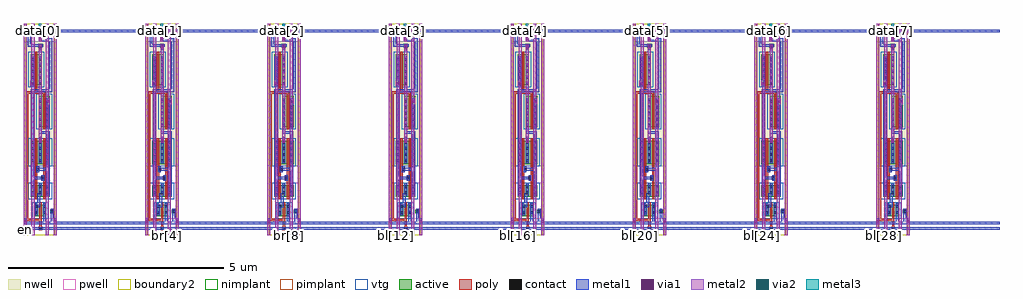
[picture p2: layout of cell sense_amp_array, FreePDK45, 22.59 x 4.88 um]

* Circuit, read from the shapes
.subckt sense_amp_array bl[0] bl[12] bl[16] bl[20] bl[24] bl[28] bl[4] bl[8] br[0] br[12] br[16] br[20] br[24] br[28] br[4] br[8] data[0] data[1] data[2] data[3] data[4] data[5] data[6] data[7] en gnd vdd
M1 n1 n2 data[0] gnd nfet w=0.27u l=0.05u
M2 gnd en n1 gnd nfet w=0.27u l=0.05u
M3 n2 data[0] n1 gnd nfet w=0.27u l=0.05u
M4 n3 n4 data[1] gnd nfet w=0.27u l=0.05u
M5 gnd en n3 gnd nfet w=0.27u l=0.05u
M6 n4 data[1] n3 gnd nfet w=0.27u l=0.05u
M7 n5 n6 data[2] gnd nfet w=0.27u l=0.05u
M8 gnd en n5 gnd nfet w=0.27u l=0.05u
M9 n6 data[2] n5 gnd nfet w=0.27u l=0.05u
M10 n7 n8 data[3] gnd nfet w=0.27u l=0.05u
M11 gnd en n7 gnd nfet w=0.27u l=0.05u
M12 n8 data[3] n7 gnd nfet w=0.27u l=0.05u
M13 n9 n10 data[4] gnd nfet w=0.27u l=0.05u
M14 gnd en n9 gnd nfet w=0.27u l=0.05u
M15 n10 data[4] n9 gnd nfet w=0.27u l=0.05u
M16 n11 n12 data[5] gnd nfet w=0.27u l=0.05u
M17 gnd en n11 gnd nfet w=0.27u l=0.05u
M18 n12 data[5] n11 gnd nfet w=0.27u l=0.05u
M19 n13 n14 data[6] gnd nfet w=0.27u l=0.05u
M20 gnd en n13 gnd nfet w=0.27u l=0.05u
M21 n14 data[6] n13 gnd nfet w=0.27u l=0.05u
M22 n15 n16 data[7] gnd nfet w=0.27u l=0.05u
M23 gnd en n15 gnd nfet w=0.27u l=0.05u
M24 n16 data[7] n15 gnd nfet w=0.27u l=0.05u
M25 vdd n2 data[0] vdd pfet w=0.54u l=0.05u
M26 data[0] en bl[0] vdd pfet w=0.72u l=0.05u
M27 n2 data[0] vdd vdd pfet w=0.54u l=0.05u
M28 br[0] en n2 vdd pfet w=0.72u l=0.05u
M29 vdd n4 data[1] vdd pfet w=0.54u l=0.05u
M30 data[1] en bl[4] vdd pfet w=0.72u l=0.05u
M31 n4 data[1] vdd vdd pfet w=0.54u l=0.05u
M32 br[4] en n4 vdd pfet w=0.72u l=0.05u
M33 vdd n6 data[2] vdd pfet w=0.54u l=0.05u
M34 data[2] en bl[8] vdd pfet w=0.72u l=0.05u
M35 n6 data[2] vdd vdd pfet w=0.54u l=0.05u
M36 br[8] en n6 vdd pfet w=0.72u l=0.05u
M37 vdd n8 data[3] vdd pfet w=0.54u l=0.05u
M38 data[3] en bl[12] vdd pfet w=0.72u l=0.05u
M39 n8 data[3] vdd vdd pfet w=0.54u l=0.05u
M40 br[12] en n8 vdd pfet w=0.72u l=0.05u
M41 vdd n10 data[4] vdd pfet w=0.54u l=0.05u
M42 data[4] en bl[16] vdd pfet w=0.72u l=0.05u
M43 n10 data[4] vdd vdd pfet w=0.54u l=0.05u
M44 br[16] en n10 vdd pfet w=0.72u l=0.05u
M45 vdd n12 data[5] vdd pfet w=0.54u l=0.05u
M46 data[5] en bl[20] vdd pfet w=0.72u l=0.05u
M47 n12 data[5] vdd vdd pfet w=0.54u l=0.05u
M48 br[20] en n12 vdd pfet w=0.72u l=0.05u
M49 vdd n14 data[6] vdd pfet w=0.54u l=0.05u
M50 data[6] en bl[24] vdd pfet w=0.72u l=0.05u
M51 n14 data[6] vdd vdd pfet w=0.54u l=0.05u
M52 br[24] en n14 vdd pfet w=0.72u l=0.05u
M53 vdd n16 data[7] vdd pfet w=0.54u l=0.05u
M54 data[7] en bl[28] vdd pfet w=0.72u l=0.05u
M55 n16 data[7] vdd vdd pfet w=0.54u l=0.05u
M56 br[28] en n16 vdd pfet w=0.72u l=0.05u
.ends

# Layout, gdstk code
import gdstk
lib = gdstk.Library(unit=1e-6, precision=5e-10)
def R(c, l, rs):  # rectangles x0, y0, x1, y1
    for r in rs: c.add(gdstk.rectangle(r[:2], r[2:], *l))
def A(c, l, x, y, w, h, nx, ny, dx, dy):  # array of equal rectangles
    R(c, l, [(x+i*dx, y+j*dy, x+i*dx+w, y+j*dy+h) for i in range(nx) for j in range(ny)])
active = (1, 0)
pwell = (2, 0)
nwell = (3, 0)
nimplant = (4, 0)
pimplant = (5, 0)
vtg = (6, 0)
poly = (9, 0)
contact = (10, 0)
metal1 = (11, 0)
via1 = (12, 0)
metal2 = (13, 0)
via2 = (14, 0)
metal3 = (15, 0)
boundary2 = (239, 0)

sense_amp = lib.new_cell('sense_amp')
R(sense_amp, active, [(0.2275,0.43,0.3025,0.7), (0.2275,0.43,0.3025,0.7), (0.2275,0.43,0.4875,0.7), (0.4125,0.43,0.4875,0.7), (0.4125,0.43,0.4875,0.7), (0.2275,0.485,0.3025,0.7), (0.4125,0.485,0.4875,0.7), (0.58,0.5,0.67,0.59), (0.1275,0.8875,0.2025,1.1575), (0.1275,0.8875,0.2025,1.1575), (0.1275,0.8875,0.3875,1.1575), (0.3125,0.8875,0.3875,1.1575), (0.3125,0.8875,0.3875,1.1575), (0.3175,0.8875,0.3925,1.1575), (0.3175,0.8875,0.3925,1.1575), (0.3175,0.8875,0.5775,1.1575), (0.5025,0.8875,0.5775,1.1575), (0.5025,0.8875,0.5775,1.1575), (0.1275,0.9425,0.2025,1.1575), (0.3125,0.9425,0.3875,1.1575), (0.3175,0.9425,0.3925,1.1575), (0.5025,0.9425,0.5775,1.1575), (0.1275,1.6425,0.2025,2.1825), (0.1275,1.6425,0.2025,2.1825), (0.1275,1.6425,0.3875,2.1825), (0.3125,1.6425,0.3875,2.1825), (0.3125,1.6425,0.3875,2.1825), (0.3175,1.6425,0.3925,2.1825), (0.3175,1.6425,0.3925,2.1825), (0.3175,1.6425,0.5775,2.1825), (0.5025,1.6425,0.5775,2.1825), (0.5025,1.6425,0.5775,2.1825), (0.1275,1.6875,0.2025,2.1825), (0.3125,1.6875,0.3875,2.1825), (0.3175,1.6875,0.3925,2.1825), (0.5025,1.6875,0.5775,2.1825), (0.3175,2.5,0.3925,3.22), (0.3175,2.5,0.3925,3.22), (0.3175,2.5,0.5775,3.22), (0.3175,2.5,0.3925,3.135), (0.5025,2.5,0.5775,3.22), (0.5025,2.5,0.5775,3.22), (0.5025,2.5,0.5775,3.135), (0.1275,3.47,0.2025,4.19), (0.1275,3.47,0.2025,4.19), (0.1275,3.47,0.3875,4.19), (0.1275,3.47,0.2025,4.105), (0.3125,3.47,0.3875,4.19), (0.3125,3.47,0.3875,4.19), (0.3125,3.47,0.3875,4.105), (0.3075,4.34,0.3975,4.43)])
R(sense_amp, pwell, [(-0.035,0.375,0.74,1.2125), (0.1725,0.375,0.5425,0.755), (0.525,0.445,0.725,0.645), (0.0725,0.8325,0.4425,1.2125), (0.2625,0.8325,0.6325,1.2125)])
R(sense_amp, nwell, [(-0.035,1.5875,0.74,4.485), (0.0725,1.5875,0.4425,2.2375), (0.2625,1.5875,0.6325,2.2375), (0.2625,2.445,0.6325,3.275), (0.0725,3.415,0.4425,4.245), (0.2525,4.285,0.4525,4.485)])
R(sense_amp, nimplant, [(0.2275,0.43,0.4875,0.7), (0.1275,0.8875,0.3875,1.1575), (0.3175,0.8875,0.5775,1.1575), (0.3075,4.34,0.3975,4.43)])
R(sense_amp, pimplant, [(0.58,0.5,0.67,0.59), (0.1275,1.6425,0.3875,2.1825), (0.3175,1.6425,0.5775,2.1825), (0.3175,2.5,0.5775,3.22), (0.1275,3.47,0.3875,4.19)])
R(sense_amp, vtg, [(0.1725,0.375,0.5425,0.755), (0.0725,0.8325,0.4425,1.2125), (0.2625,0.8325,0.6325,1.2125), (0.0725,1.5875,0.4425,2.2375), (0.2625,1.5875,0.6325,2.2375), (0.2625,2.445,0.6325,3.275), (0.0725,3.415,0.4425,4.245)])
R(sense_amp, poly, [(0.32,0.1125,0.395,0.1875), (0.3325,0.12,0.3825,0.325), (0.0275,0.325,0.3825,0.375), (0.0275,0.375,0.0775,3.275), (0.3325,0.375,0.3825,0.43), (0.3325,0.375,0.3825,0.755), (0.3325,0.7,0.3825,0.755), (0.2325,0.8325,0.2825,0.8875), (0.2325,0.8325,0.2825,1.2125), (0.4225,0.8325,0.4725,0.8875), (0.4225,0.8325,0.4725,1.2125), (0.2325,1.1575,0.2825,1.2125), (0.4225,1.1575,0.4725,1.2125), (0.2325,1.2125,0.2825,1.97), (0.4225,1.2125,0.4725,1.97), (0.3725,1.2825,0.4475,1.3575), (0.2575,1.4825,0.3325,1.5575), (0.2325,1.5875,0.2825,1.6425), (0.2325,1.5875,0.2825,2.2375), (0.4225,1.5875,0.4725,1.6425), (0.4225,1.5875,0.4725,2.2375), (0.2325,2.1825,0.2825,2.2375), (0.4225,2.1825,0.4725,2.2375), (0.4225,2.445,0.4725,3.275), (0.4225,2.445,0.4725,2.5), (0.4225,3.22,0.4725,3.275), (0.0275,3.275,0.4725,3.325), (0.2325,3.325,0.2825,3.415), (0.2325,3.415,0.2825,4.245), (0.2325,3.415,0.2825,3.47), (0.2325,4.19,0.2825,4.245)])
A(sense_amp, contact, 0.1325, 1.6925, 0.065, 0.065, 1, 4, 0, 0.14)
A(sense_amp, contact, 0.3175, 1.6925, 0.065, 0.065, 1, 4, 0, 0.14)
A(sense_amp, contact, 0.3225, 1.6925, 0.065, 0.065, 1, 4, 0, 0.14)
A(sense_amp, contact, 0.5075, 1.6925, 0.065, 0.065, 1, 4, 0, 0.14)
A(sense_amp, contact, 0.3225, 2.505, 0.065, 0.065, 1, 5, 0, 0.14)
A(sense_amp, contact, 0.5075, 2.505, 0.065, 0.065, 1, 5, 0, 0.14)
A(sense_amp, contact, 0.1325, 3.475, 0.065, 0.065, 1, 5, 0, 0.14)
A(sense_amp, contact, 0.3175, 3.475, 0.065, 0.065, 1, 5, 0, 0.14)
R(sense_amp, contact, [(0.325,0.1175,0.39,0.1825), (0.2325,0.49,0.2975,0.555), (0.4175,0.49,0.4825,0.555), (0.5925,0.5125,0.6575,0.5775), (0.2325,0.63,0.2975,0.695), (0.4175,0.63,0.4825,0.695), (0.1325,0.9475,0.1975,1.0125), (0.3175,0.9475,0.3825,1.0125), (0.3225,0.9475,0.3875,1.0125), (0.5075,0.9475,0.5725,1.0125), (0.1325,1.0875,0.1975,1.1525), (0.3175,1.0875,0.3825,1.1525), (0.3225,1.0875,0.3875,1.1525), (0.5075,1.0875,0.5725,1.1525), (0.3775,1.2875,0.4425,1.3525), (0.2625,1.4875,0.3275,1.5525), (0.32,4.3525,0.385,4.4175)])
R(sense_amp, metal1, [(-0.035,0.1175,0.74,0.1825), (-0.035,0.1175,0.74,0.1825), (0.23,0.1175,0.295,0.1825), (0.29,0.1175,0.425,0.1825), (-0.035,0.2475,0.74,0.3125), (-0.035,0.2475,0.74,0.3125), (-0.0325,0.2475,0.0325,0.3825), (0.27,0.2475,0.33,0.3125), (0.5925,0.2475,0.6575,0.4775), (0.6725,0.2475,0.7375,0.3825), (0.4175,0.3125,0.4825,0.465), (0.6575,0.3125,0.6725,0.3825), (0.2325,0.455,0.2975,0.73), (0.4175,0.455,0.4825,0.73), (0.5925,0.4775,0.6575,0.6125), (0.2825,0.6425,0.3525,0.97), (0.1325,0.9125,0.1975,1.1875), (0.3175,0.9125,0.3825,1.1875), (0.3225,0.9125,0.3875,1.1875), (0.5075,0.9125,0.5725,1.1875), (0.1325,1.1825,0.1975,2.05), (0.5075,1.1875,0.5725,2.05), (0.3775,1.2525,0.4425,1.3875), (0.1325,1.2875,0.4225,1.3525), (0.2625,1.4525,0.3275,1.5875), (0.2825,1.4875,0.5725,1.5525), (0.1325,1.6575,0.1975,2.2125), (0.3175,1.6575,0.3825,2.2125), (0.3225,1.6575,0.3875,2.2125), (0.5075,1.6575,0.5725,2.2125), (0.32,2.14,0.385,2.275), (0.5075,2.21,0.5725,2.405), (0.1325,2.2125,0.1975,3.31), (0.3225,2.34,0.3875,2.535), (0.3225,2.34,0.5725,2.405), (0.3225,2.47,0.3875,3.165), (0.5075,2.47,0.5725,3.165), (0.51,3.03,0.575,3.165), (0.1325,3.31,0.63,3.375), (0.32,3.31,0.385,3.5075), (0.565,3.31,0.63,4.5575), (0.1275,3.44,0.1925,3.575), (0.1325,3.44,0.1975,4.135), (0.3175,3.44,0.3825,4.135), (0.32,4.2825,0.385,4.4175), (0.0625,4.3525,0.42,4.4175), (0.285,4.3525,0.42,4.4175), (0.0625,4.4175,0.13,4.755), (0.3125,4.4875,0.63,4.5575), (0.315,4.4875,0.38,4.6225), (-0.035,4.69,0.74,4.755), (-0.035,4.69,0.74,4.755), (0.0625,4.69,0.13,4.755)])
R(sense_amp, via1, [(-0.0325,0.2825,0.0325,0.3475), (0.6725,0.2825,0.7375,0.3475), (0.32,2.175,0.385,2.24), (0.51,3.065,0.575,3.13), (0.1275,3.475,0.1925,3.54), (0.32,4.3175,0.385,4.3825), (0.315,4.5225,0.38,4.5875)])
R(sense_amp, metal2, [(-0.035,0,0.035,4.885), (0.15,0,0.22,4.885), (0.15,0,0.22,4.885), (0.485,0,0.555,3.545), (0.67,0,0.74,4.885), (-0.035,0.2475,0.035,0.3825), (0.67,0.2475,0.74,0.3825), (0.485,0.8,0.555,4.885), (0.485,0.8,0.555,4.885), (0.3175,2.14,0.3875,2.275), (0.3175,2.275,0.3875,4.285), (0.5075,3.03,0.5775,3.165), (0.125,3.44,0.195,3.575), (0.3175,4.2825,0.3875,4.4175), (0.3125,4.4875,0.3825,4.885), (0.3125,4.4875,0.3825,4.6225), (0.3125,4.745,0.3825,4.885), (0.15,4.825,0.22,4.885), (0.3125,4.83,0.3825,4.885), (0.49,4.835,0.55,4.885)])
R(sense_amp, via2, [(0.3125,4.78,0.3825,4.85)])
R(sense_amp, metal3, [(0.3125,4.745,0.3825,4.885), (0.3125,4.745,0.3825,4.885)])
R(sense_amp, boundary2, [(0,0,0.705,4.885)])
sense_amp.add(gdstk.Label('bl', (0.19,4.855), layer=13, texttype=0))
sense_amp.add(gdstk.Label('br', (0.52,4.862), layer=13, texttype=0))
sense_amp.add(gdstk.Label('w = 0.72', (0.4475,3.285), layer=230, texttype=0))
sense_amp.add(gdstk.Label('l = 0.05', (0.4825,2.86), layer=230, texttype=0))
sense_amp.add(gdstk.Label('w = 0.72', (0.2575,4.255), layer=230, texttype=0))
sense_amp.add(gdstk.Label('l = 0.05', (0.2925,3.83), layer=230, texttype=0))
sense_amp.add(gdstk.Label('w = 0.54', (0.4475,1.5775), layer=230, texttype=0))
sense_amp.add(gdstk.Label('l = 0.05', (0.4825,1.9125), layer=230, texttype=0))
sense_amp.add(gdstk.Label('w = 0.54', (0.2575,1.5775), layer=230, texttype=0))
sense_amp.add(gdstk.Label('l = 0.05', (0.2925,1.9125), layer=230, texttype=0))
sense_amp.add(gdstk.Label('w = 0.27', (0.3575,0.365), layer=230, texttype=0))
sense_amp.add(gdstk.Label('l = 0.05', (0.3925,0.565), layer=230, texttype=0))
sense_amp.add(gdstk.Label('w = 0.27', (0.2575,0.8225), layer=230, texttype=0))
sense_amp.add(gdstk.Label('l = 0.05', (0.2925,1.0225), layer=230, texttype=0))
sense_amp.add(gdstk.Label('w = 0.27', (0.4475,0.8225), layer=230, texttype=0))
sense_amp.add(gdstk.Label('l = 0.05', (0.4825,1.0225), layer=230, texttype=0))
sense_amp.add(gdstk.Label('dout', (0.347,4.862), layer=15, texttype=0))
sense_amp.add(gdstk.Label('vdd', (0.095,4.7225), layer=11, texttype=0))
sense_amp.add(gdstk.Label('en', (0.258,0.15), layer=11, texttype=0))
sense_amp.add(gdstk.Label('gnd', (0.3,0.275), layer=11, texttype=0))
sense_amp.add(gdstk.Label('en', (-0.035,0.1175), layer=11, texttype=0))
sense_amp.add(gdstk.Label('dout', (0.3125,4.745), layer=15, texttype=0))
sense_amp.add(gdstk.Label('br', (0.485,0.8), layer=13, texttype=0))
sense_amp.add(gdstk.Label('bl', (0.15,0), layer=13, texttype=0))
sense_amp.add(gdstk.Label('vdd', (-0.035,4.69), layer=11, texttype=0))
sense_amp.add(gdstk.Label('gnd', (-0.035,0.2475), layer=11, texttype=0))

sense_amp_array = lib.new_cell('sense_amp_array')
R(sense_amp_array, metal1, [(0,0.1175,22.56,0.1825), (0,0.1175,22.56,0.1825), (0,0.2475,22.56,0.3125), (0,0.2475,22.56,0.3125), (0,4.69,22.56,4.755), (0,4.69,22.56,4.755)])
R(sense_amp_array, metal2, [(0.15,0,0.22,4.885), (0.15,0,0.22,4.885), (0.485,0,0.555,4.085), (0.485,0,0.555,4.085), (2.97,0,3.04,4.885), (2.97,0,3.04,4.885), (3.305,0,3.375,4.085), (3.305,0,3.375,4.085), (5.79,0,5.86,4.885), (5.79,0,5.86,4.885), (6.125,0,6.195,4.085), (6.125,0,6.195,4.085), (8.61,0,8.68,4.885), (8.61,0,8.68,4.885), (8.945,0,9.015,4.085), (8.945,0,9.015,4.085), (11.43,0,11.5,4.885), (11.43,0,11.5,4.885), (11.765,0,11.835,4.085), (11.765,0,11.835,4.085), (14.25,0,14.32,4.885), (14.25,0,14.32,4.885), (14.585,0,14.655,4.085), (14.585,0,14.655,4.085), (17.07,0,17.14,4.885), (17.07,0,17.14,4.885), (17.405,0,17.475,4.085), (17.405,0,17.475,4.085), (19.89,0,19.96,4.885), (19.89,0,19.96,4.885), (20.225,0,20.295,4.085), (20.225,0,20.295,4.085)])
R(sense_amp_array, metal3, [(0.3125,4.745,0.3825,4.885), (0.3125,4.745,0.3825,4.885), (3.1325,4.745,3.2025,4.885), (3.1325,4.745,3.2025,4.885), (5.9525,4.745,6.0225,4.885), (5.9525,4.745,6.0225,4.885), (8.7725,4.745,8.8425,4.885), (8.7725,4.745,8.8425,4.885), (11.5925,4.745,11.6625,4.885), (11.5925,4.745,11.6625,4.885), (14.4125,4.745,14.4825,4.885), (14.4125,4.745,14.4825,4.885), (17.2325,4.745,17.3025,4.885), (17.2325,4.745,17.3025,4.885), (20.0525,4.745,20.1225,4.885), (20.0525,4.745,20.1225,4.885)])
sense_amp_array.add(gdstk.Reference(sense_amp, (0,0)))
sense_amp_array.add(gdstk.Reference(sense_amp, (2.82,0)))
sense_amp_array.add(gdstk.Reference(sense_amp, (5.64,0)))
sense_amp_array.add(gdstk.Reference(sense_amp, (8.46,0)))
sense_amp_array.add(gdstk.Reference(sense_amp, (11.28,0)))
sense_amp_array.add(gdstk.Reference(sense_amp, (14.1,0)))
sense_amp_array.add(gdstk.Reference(sense_amp, (16.92,0)))
sense_amp_array.add(gdstk.Reference(sense_amp, (19.74,0)))
sense_amp_array.add(gdstk.Reference(sense_amp, (0,0)))
sense_amp_array.add(gdstk.Reference(sense_amp, (2.82,0)))
sense_amp_array.add(gdstk.Reference(sense_amp, (5.64,0)))
sense_amp_array.add(gdstk.Reference(sense_amp, (8.46,0)))
sense_amp_array.add(gdstk.Reference(sense_amp, (11.28,0)))
sense_amp_array.add(gdstk.Reference(sense_amp, (14.1,0)))
sense_amp_array.add(gdstk.Reference(sense_amp, (16.92,0)))
sense_amp_array.add(gdstk.Reference(sense_amp, (19.74,0)))
sense_amp_array.add(gdstk.Label('data[0]', (0.3125,4.745), layer=15, texttype=0))
sense_amp_array.add(gdstk.Label('bl[12]', (8.61,0), layer=13, texttype=0))
sense_amp_array.add(gdstk.Label('bl[20]', (14.25,0), layer=13, texttype=0))
sense_amp_array.add(gdstk.Label('bl[24]', (17.07,0), layer=13, texttype=0))
sense_amp_array.add(gdstk.Label('en', (0,0.1175), layer=11, texttype=0))
sense_amp_array.add(gdstk.Label('br[0]', (0.485,0), layer=13, texttype=0))
sense_amp_array.add(gdstk.Label('br[4]', (3.305,0), layer=13, texttype=0))
sense_amp_array.add(gdstk.Label('br[20]', (14.585,0), layer=13, texttype=0))
sense_amp_array.add(gdstk.Label('bl[28]', (19.89,0), layer=13, texttype=0))
sense_amp_array.add(gdstk.Label('data[6]', (17.2325,4.745), layer=15, texttype=0))
sense_amp_array.add(gdstk.Label('br[24]', (17.405,0), layer=13, texttype=0))
sense_amp_array.add(gdstk.Label('data[2]', (5.9525,4.745), layer=15, texttype=0))
sense_amp_array.add(gdstk.Label('data[4]', (11.5925,4.745), layer=15, texttype=0))
sense_amp_array.add(gdstk.Label('bl[16]', (11.43,0), layer=13, texttype=0))
sense_amp_array.add(gdstk.Label('data[1]', (3.1325,4.745), layer=15, texttype=0))
sense_amp_array.add(gdstk.Label('data[3]', (8.7725,4.745), layer=15, texttype=0))
sense_amp_array.add(gdstk.Label('br[28]', (20.225,0), layer=13, texttype=0))
sense_amp_array.add(gdstk.Label('br[12]', (8.945,0), layer=13, texttype=0))
sense_amp_array.add(gdstk.Label('bl[0]', (0.15,0), layer=13, texttype=0))
sense_amp_array.add(gdstk.Label('bl[4]', (2.97,0), layer=13, texttype=0))
sense_amp_array.add(gdstk.Label('vdd', (0,4.69), layer=11, texttype=0))
sense_amp_array.add(gdstk.Label('data[7]', (20.0525,4.745), layer=15, texttype=0))
sense_amp_array.add(gdstk.Label('br[16]', (11.765,0), layer=13, texttype=0))
sense_amp_array.add(gdstk.Label('gnd', (0,0.2475), layer=11, texttype=0))
sense_amp_array.add(gdstk.Label('br[8]', (6.125,0), layer=13, texttype=0))
sense_amp_array.add(gdstk.Label('bl[8]', (5.79,0), layer=13, texttype=0))
sense_amp_array.add(gdstk.Label('data[5]', (14.4125,4.745), layer=15, texttype=0))
sense_amp_array.add(gdstk.Label('data[0]', (0.3125,4.745), layer=15, texttype=0))
sense_amp_array.add(gdstk.Label('bl[12]', (8.61,0), layer=13, texttype=0))
sense_amp_array.add(gdstk.Label('bl[20]', (14.25,0), layer=13, texttype=0))
sense_amp_array.add(gdstk.Label('bl[24]', (17.07,0), layer=13, texttype=0))
sense_amp_array.add(gdstk.Label('en', (0,0.1175), layer=11, texttype=0))
sense_amp_array.add(gdstk.Label('br[0]', (0.485,0), layer=13, texttype=0))
sense_amp_array.add(gdstk.Label('br[4]', (3.305,0), layer=13, texttype=0))
sense_amp_array.add(gdstk.Label('br[20]', (14.585,0), layer=13, texttype=0))
sense_amp_array.add(gdstk.Label('bl[28]', (19.89,0), layer=13, texttype=0))
sense_amp_array.add(gdstk.Label('data[6]', (17.2325,4.745), layer=15, texttype=0))
sense_amp_array.add(gdstk.Label('br[24]', (17.405,0), layer=13, texttype=0))
sense_amp_array.add(gdstk.Label('data[2]', (5.9525,4.745), layer=15, texttype=0))
sense_amp_array.add(gdstk.Label('data[4]', (11.5925,4.745), layer=15, texttype=0))
sense_amp_array.add(gdstk.Label('bl[16]', (11.43,0), layer=13, texttype=0))
sense_amp_array.add(gdstk.Label('data[1]', (3.1325,4.745), layer=15, texttype=0))
sense_amp_array.add(gdstk.Label('data[3]', (8.7725,4.745), layer=15, texttype=0))
sense_amp_array.add(gdstk.Label('br[28]', (20.225,0), layer=13, texttype=0))
sense_amp_array.add(gdstk.Label('br[12]', (8.945,0), layer=13, texttype=0))
sense_amp_array.add(gdstk.Label('bl[0]', (0.15,0), layer=13, texttype=0))
sense_amp_array.add(gdstk.Label('bl[4]', (2.97,0), layer=13, texttype=0))
sense_amp_array.add(gdstk.Label('vdd', (0,4.69), layer=11, texttype=0))
sense_amp_array.add(gdstk.Label('data[7]', (20.0525,4.745), layer=15, texttype=0))
sense_amp_array.add(gdstk.Label('br[16]', (11.765,0), layer=13, texttype=0))
sense_amp_array.add(gdstk.Label('gnd', (0,0.2475), layer=11, texttype=0))
sense_amp_array.add(gdstk.Label('br[8]', (6.125,0), layer=13, texttype=0))
sense_amp_array.add(gdstk.Label('bl[8]', (5.79,0), layer=13, texttype=0))
sense_amp_array.add(gdstk.Label('data[5]', (14.4125,4.745), layer=15, texttype=0))

lib.write_gds('sense_amp_array.gds')
